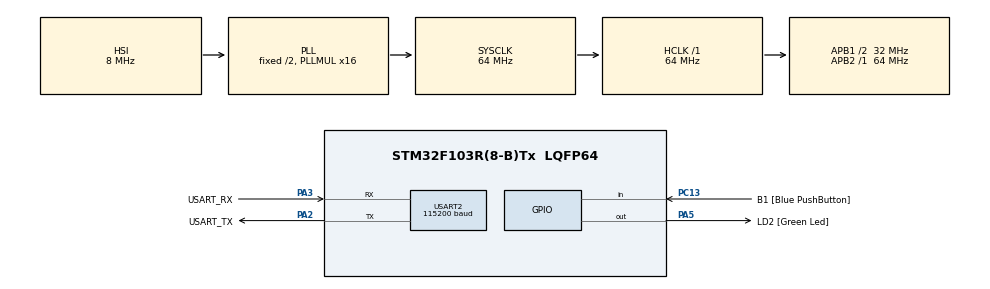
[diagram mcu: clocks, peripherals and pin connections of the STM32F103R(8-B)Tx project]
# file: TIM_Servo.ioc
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Mcu.Family=STM32F1
Mcu.Name=STM32F103R(8-B)Tx
Mcu.Package=LQFP64
NVIC.PriorityGroup=NVIC_PRIORITYGROUP_4
PA0-WKUP.GPIO_Speed=GPIO_SPEED_FREQ_HIGH
PA0-WKUP.Signal=S_TIM2_CH1
PA13.GPIO_Label=TMS
PA13.Mode=Serial_Wire
PA13.Signal=SYS_JTMS-SWDIO
PA14.GPIO_Label=TCK
PA14.Mode=Serial_Wire
PA14.Signal=SYS_JTCK-SWCLK
PA2.GPIO_Label=USART_TX
PA2.GPIO_Mode=GPIO_MODE_AF_PP
PA2.GPIO_PuPd=GPIO_NOPULL
PA2.GPIO_Speed=GPIO_SPEED_FREQ_LOW
PA2.Mode=Asynchronous
PA2.Signal=USART2_TX
PA3.GPIO_Label=USART_RX
PA3.GPIO_PuPd=GPIO_NOPULL
PA3.GPIO_Speed=GPIO_SPEED_FREQ_LOW
PA3.Mode=Asynchronous
PA3.Signal=USART2_RX
PA5.GPIO_Label=LD2 [Green Led]
PA5.GPIO_ModeDefaultOutputPP=GPIO_MODE_OUTPUT_PP
PA5.GPIO_PuPd=GPIO_NOPULL
PA5.GPIO_Speed=GPIO_SPEED_FREQ_LOW
PA5.Signal=GPIO_Output
PB3.GPIO_Label=SWO
PB3.Signal=SYS_JTDO-TRACESWO
PC13-TAMPER-RTC.GPIO_Label=B1 [Blue PushButton]
PC13-TAMPER-RTC.GPIO_PuPd=GPIO_NOPULL
PC13-TAMPER-RTC.Signal=GPIO_Input
PC14-OSC32_IN.Mode=LSE-External-Oscillator
PC14-OSC32_IN.Signal=RCC_OSC32_IN
PC15-OSC32_OUT.Mode=LSE-External-Oscillator
PC15-OSC32_OUT.Signal=RCC_OSC32_OUT
PD0-OSC_IN.Mode=HSE-External-Clock-Source
PD0-OSC_IN.Signal=RCC_OSC_IN
PD1-OSC_OUT.Mode=HSE-External-Clock-Source
PD1-OSC_OUT.Signal=RCC_OSC_OUT
ProjectManager.HeapSize=0x200
ProjectManager.StackSize=0x400
ProjectManager.TargetToolchain=STM32CubeIDE
RCC.AHBFreq_Value=64000000
RCC.APB1CLKDivider=RCC_HCLK_DIV2
RCC.APB1Freq_Value=32000000
RCC.APB1TimFreq_Value=64000000
RCC.APB2Freq_Value=64000000
RCC.APB2TimFreq_Value=64000000
RCC.HCLKFreq_Value=64000000
RCC.PLLMUL=RCC_PLL_MUL16
RCC.RTCClockSelection=RCC_RTCCLKSOURCE_LSE
RCC.SYSCLKFreq_VALUE=64000000
RCC.SYSCLKSource=RCC_SYSCLKSOURCE_PLLCLK
RCC.USBFreq_Value=64000000
TIM2.AutoReloadPreload=TIM_AUTORELOAD_PRELOAD_ENABLE
TIM2.Channel-PWM Generation1 CH1=TIM_CHANNEL_1
TIM2.Period=19999
TIM2.Prescaler=63
TIM2.Pulse-PWM Generation1 CH1=1500
USART2.BaudRate=115200
USART2.VirtualMode=VM_ASYNC
VP_TIM2_VS_ClockSourceINT.Mode=Internal
board=NUCLEO-F103RB

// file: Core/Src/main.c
/* USER CODE BEGIN Header */
/**
 ******************************************************************************
 * @file           : main.c
 * @brief          : Main program body
 ******************************************************************************
 * @attention
 *
 * Copyright (c) 2026 STMicroelectronics.
 * All rights reserved.
 *
 * This software is licensed under terms that can be found in the LICENSE file
 * in the root directory of this software component.
 * If no LICENSE file comes with this software, it is provided AS-IS.
 *
 ******************************************************************************
 */
/**
 * 11_TIM_Servo_c  —  [계층: HAL]  RC 서보 제어: 50Hz PWM, 펄스 폭 1.0~2.0ms = 각도 0~180°
 *
 * 서보 프로토콜 (SG90/MG90S 등 호비 서보)
 *   20ms(50Hz) 주기의 펄스, **High 폭이 각도를 정한다**:  1.0ms = 0°(또는 −90°),  1.5ms = 중앙,  2.0ms = 180°(또는 +90°).
 *   서보마다 유효 범위가 조금씩 달라(0.5~2.5ms 까지 도는 것도 있음) 기계적 한계에 닿아 떠는 소리가 나면 범위를 좁힌다.
 *   PWM 주파수 자체는 정밀할 필요가 없고(40~60Hz 허용), **펄스 폭의 정확도**가 각도 정확도다 -> 타이머가 하드웨어로 만들어야 하는 이유.
 *
 * 타이머 계산: TIM2_CH1 (PA0), TIM2 클럭 64MHz
 *   PSC = 64-1  -> 카운터 1MHz (1us)     ARR = 20000-1 -> 주기 20ms = 50Hz    CCR1 = 펄스 폭[us] = 1000 + angle x 1000 / 180
 *   -> 분해능 1us = 약 0.18°.  더 세밀하게 하려면 PSC 를 줄여(예: /8) 카운터를 8MHz 로 하고 ARR = 160000-1 는 16비트를 넘으므로 안 된다
 *      (ARR 최대 65535 이므로 20ms 주기에는 1MHz 가 한계에 가깝다: 20000 카운트).
 *
 * 배선: 서보 신호선(주황/노랑) = PA0,  전원선(빨강) = **외부 5V**,  GND(갈색/검정) = 보드 GND 와 공통
 *   *** 서보 전원을 Nucleo 의 3.3V/5V 핀에서 끌어 쓰면 움직일 때 전류 스파이크로 보드가 리셋될 수 있다. 외부 전원 + GND 공통으로 연결. ***
 *   신호는 3.3V 레벨이라도 대부분 서보가 인식한다.
 *
 * 동작
 *   - 기본: 0° -> 180° -> 0° 를 부드럽게 반복 (10ms 마다 1° 이동, 약 3.6초에 왕복)
 *   - B1(PC13)을 누를 때마다 모드 전환: 스윕 -> 중앙 90° 고정 -> 0° 고정 -> 180° 고정 -> 스윕 ...
 *   - 현재 각도/펄스 폭을 UART(115200)로 출력.  (고정 모드에서는 PWM 이 계속 나와야 서보가 위치를 유지한다)
 *
 * 인터럽트를 사용하지 않는다.
 */
/* USER CODE END Header */
#include "main.h"

/* USER CODE BEGIN Includes */
#include <stdio.h>
#include <string.h>
/* USER CODE END Includes */

/* USER CODE BEGIN PD */
#define PULSE_MIN_US 1000U             /* 0°   */
#define PULSE_MAX_US 2000U             /* 180° */

/* USER CODE END PD */

TIM_HandleTypeDef htim2;
UART_HandleTypeDef huart2;

void SystemClock_Config(void);
static void MX_GPIO_Init(void);
static void MX_USART2_UART_Init(void);
static void MX_TIM2_Init(void);
void HAL_TIM_MspPostInit(TIM_HandleTypeDef *htim);

/* USER CODE BEGIN 0 */
static uint32_t servo_write_angle(uint32_t deg)
{
    if (deg > 180U) deg = 180U;
    uint32_t us = PULSE_MIN_US + deg * (PULSE_MAX_US - PULSE_MIN_US) / 180U;
    __HAL_TIM_SET_COMPARE(&htim2, TIM_CHANNEL_1, us);                 /* TIM2->CCR1 = 펄스 폭[us] */
    return us;
}
/* USER CODE END 0 */

int main(void)
{

  /* MCU Configuration--------------------------------------------------------*/

  /* Reset of all peripherals, Initializes the Flash interface and the Systick. */
  HAL_Init();

  /* Configure the system clock */
  SystemClock_Config();

  /* Initialize all configured peripherals */
  MX_GPIO_Init();
  MX_USART2_UART_Init();
  MX_TIM2_Init();
  /* USER CODE BEGIN 2 */
  if (HAL_TIM_PWM_Start(&htim2, TIM_CHANNEL_1) != HAL_OK) Error_Handler();   /* TIM2->CCER.CC1E = 1, CR1.CEN = 1 */

  static const char *const mode_name[4] = { "sweep 0<->180", "center 90", "fixed 0", "fixed 180" };
  uint32_t mode = 0, deg = 0;
  int dir = 1;
  char msg[64];
  uint32_t t_step = HAL_GetTick(), t_print = HAL_GetTick();
  /* USER CODE END 2 */

  /* Infinite loop */
  while (1)
  {

    /* USER CODE BEGIN 3 */
    if (HAL_GPIO_ReadPin(B1_GPIO_Port, B1_Pin) == GPIO_PIN_RESET)   /* GPIOC->IDR bit13 (B1: 누르면 Low) : 모드 전환 */
    {
      HAL_Delay(30);
      mode = (mode + 1) % 4;
      while (HAL_GPIO_ReadPin(B1_GPIO_Port, B1_Pin) == GPIO_PIN_RESET) {}
      HAL_Delay(30);
    }

    if (mode == 0)
    {
      if (HAL_GetTick() - t_step >= 10)                          /* 10ms 마다 1° */
      {
        t_step += 10;
        if (dir > 0) { if (deg >= 180) dir = -1; else deg++; }
        else         { if (deg == 0)   dir = 1;  else deg--; }
      }
    }
    else deg = (mode == 1) ? 90 : (mode == 2 ? 0 : 180);

    uint32_t us = servo_write_angle(deg);

    if (HAL_GetTick() - t_print >= 500)
    {
      t_print += 500;
      int n = snprintf(msg, sizeof msg, "[%s] angle=%3lu deg  pulse=%lu us\r\n", mode_name[mode], (unsigned long)deg, (unsigned long)us);
      HAL_UART_Transmit(&huart2, (uint8_t *)msg, (uint16_t)n, 100);
    }
  }
  /* USER CODE END 3 */
}

void SystemClock_Config(void)
{
  RCC_OscInitTypeDef RCC_OscInitStruct = {0};
  RCC_ClkInitTypeDef RCC_ClkInitStruct = {0};

  /** Initializes the RCC Oscillators according to the specified parameters
  * in the RCC_OscInitTypeDef structure.
  */
  RCC_OscInitStruct.OscillatorType = RCC_OSCILLATORTYPE_HSI;
  RCC_OscInitStruct.HSIState = RCC_HSI_ON;
  RCC_OscInitStruct.HSICalibrationValue = RCC_HSICALIBRATION_DEFAULT;
  RCC_OscInitStruct.PLL.PLLState = RCC_PLL_ON;
  RCC_OscInitStruct.PLL.PLLSource = RCC_PLLSOURCE_HSI_DIV2;
  RCC_OscInitStruct.PLL.PLLMUL = RCC_PLL_MUL16;
  if (HAL_RCC_OscConfig(&RCC_OscInitStruct) != HAL_OK)
  {
    Error_Handler();
  }

  /** Initializes the CPU, AHB and APB buses clocks
  */
  RCC_ClkInitStruct.ClockType = RCC_CLOCKTYPE_HCLK|RCC_CLOCKTYPE_SYSCLK
                              |RCC_CLOCKTYPE_PCLK1|RCC_CLOCKTYPE_PCLK2;
  RCC_ClkInitStruct.SYSCLKSource = RCC_SYSCLKSOURCE_PLLCLK;
  RCC_ClkInitStruct.AHBCLKDivider = RCC_SYSCLK_DIV1;
  RCC_ClkInitStruct.APB1CLKDivider = RCC_HCLK_DIV2;
  RCC_ClkInitStruct.APB2CLKDivider = RCC_HCLK_DIV1;

  if (HAL_RCC_ClockConfig(&RCC_ClkInitStruct, FLASH_LATENCY_2) != HAL_OK)
  {
    Error_Handler();
  }
}

static void MX_GPIO_Init(void)
{
  GPIO_InitTypeDef GPIO_InitStruct = {0};

  /* GPIO Ports Clock Enable */
  __HAL_RCC_GPIOC_CLK_ENABLE();
  __HAL_RCC_GPIOD_CLK_ENABLE();
  __HAL_RCC_GPIOA_CLK_ENABLE();
  __HAL_RCC_GPIOB_CLK_ENABLE();

  /*Configure GPIO pin Output Level */
  HAL_GPIO_WritePin(LD2_GPIO_Port, LD2_Pin, GPIO_PIN_RESET);

  /*Configure GPIO pin : B1_Pin */
  GPIO_InitStruct.Pin = B1_Pin;
  GPIO_InitStruct.Mode = GPIO_MODE_INPUT;
  GPIO_InitStruct.Pull = GPIO_NOPULL;
  HAL_GPIO_Init(B1_GPIO_Port, &GPIO_InitStruct);

  /*Configure GPIO pin : LD2_Pin */
  GPIO_InitStruct.Pin = LD2_Pin;
  GPIO_InitStruct.Mode = GPIO_MODE_OUTPUT_PP;
  GPIO_InitStruct.Pull = GPIO_NOPULL;
  GPIO_InitStruct.Speed = GPIO_SPEED_FREQ_LOW;
  HAL_GPIO_Init(LD2_GPIO_Port, &GPIO_InitStruct);

}

static void MX_USART2_UART_Init(void)
{

  huart2.Instance = USART2;
  huart2.Init.BaudRate = 115200;
  huart2.Init.WordLength = UART_WORDLENGTH_8B;
  huart2.Init.StopBits = UART_STOPBITS_1;
  huart2.Init.Parity = UART_PARITY_NONE;
  huart2.Init.Mode = UART_MODE_TX_RX;
  huart2.Init.HwFlowCtl = UART_HWCONTROL_NONE;
  huart2.Init.OverSampling = UART_OVERSAMPLING_16;
  if (HAL_UART_Init(&huart2) != HAL_OK)
  {
    Error_Handler();
  }

}

static void MX_TIM2_Init(void)
{

  TIM_ClockConfigTypeDef sClockSourceConfig = {0};
  TIM_MasterConfigTypeDef sMasterConfig = {0};
  TIM_OC_InitTypeDef sConfigOC = {0};

  htim2.Instance = TIM2;
  htim2.Init.Prescaler = 63;
  htim2.Init.CounterMode = TIM_COUNTERMODE_UP;
  htim2.Init.Period = 19999;
  htim2.Init.ClockDivision = TIM_CLOCKDIVISION_DIV1;
  htim2.Init.AutoReloadPreload = TIM_AUTORELOAD_PRELOAD_ENABLE;
  if (HAL_TIM_Base_Init(&htim2) != HAL_OK)
  {
    Error_Handler();
  }
  sClockSourceConfig.ClockSource = TIM_CLOCKSOURCE_INTERNAL;
  if (HAL_TIM_ConfigClockSource(&htim2, &sClockSourceConfig) != HAL_OK)
  {
    Error_Handler();
  }
  if (HAL_TIM_PWM_Init(&htim2) != HAL_OK)
  {
    Error_Handler();
  }
  sMasterConfig.MasterOutputTrigger = TIM_TRGO_RESET;
  sMasterConfig.MasterSlaveMode = TIM_MASTERSLAVEMODE_DISABLE;
  if (HAL_TIMEx_MasterConfigSynchronization(&htim2, &sMasterConfig) != HAL_OK)
  {
    Error_Handler();
  }
  sConfigOC.OCMode = TIM_OCMODE_PWM1;
  sConfigOC.Pulse = 1500;
  sConfigOC.OCPolarity = TIM_OCPOLARITY_HIGH;
  sConfigOC.OCFastMode = TIM_OCFAST_DISABLE;
  if (HAL_TIM_PWM_ConfigChannel(&htim2, &sConfigOC, TIM_CHANNEL_1) != HAL_OK)
  {
    Error_Handler();
  }
  /* USER CODE BEGIN TIM2_Init 2 */
  /* TIM2: PSC=63 -> 1MHz(1us), ARR=19999 -> 20ms(50Hz), CCR1 = 펄스 폭[us] (시작은 중앙 1500us), CR1.ARPE = 1 */
  /* USER CODE END TIM2_Init 2 */
  HAL_TIM_MspPostInit(&htim2);

}

void Error_Handler(void)
{
  __disable_irq();
  while (1) {
  }
}
#ifdef USE_FULL_ASSERT
/**
  * @brief  Reports the name of the source file and the source line number
  *         where the assert_param error has occurred.
  * @param  file: pointer to the source file name
  * @param  line: assert_param error line source number
  * @retval None
  */
void assert_failed(uint8_t *file, uint32_t line)
{
  /* USER CODE BEGIN 6 */
  /* User can add his own implementation to report the file name and line
     number, ex: printf("Wrong parameters value: file %s on line %d\r\n", file,
     line) */
  /* USER CODE END 6 */
}
#endif /* USE_FULL_ASSERT */
